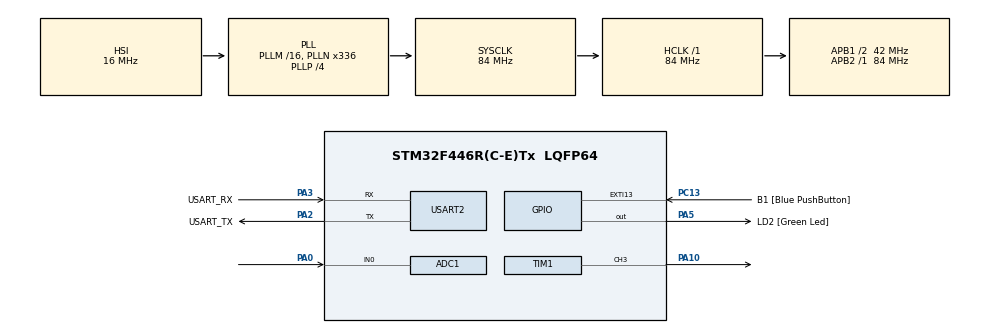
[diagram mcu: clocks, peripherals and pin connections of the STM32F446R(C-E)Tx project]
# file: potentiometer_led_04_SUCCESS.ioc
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ADC1.Channel-0\#ChannelRegularConversion=ADC_CHANNEL_0
ADC1.ContinuousConvMode=ENABLE
ADC1.NbrOfConversionFlag=1
ADC1.Rank-0\#ChannelRegularConversion=1
ADC1.SamplingTime-0\#ChannelRegularConversion=ADC_SAMPLETIME_3CYCLES
ADC1.master=1
Mcu.Family=STM32F4
Mcu.Name=STM32F446R(C-E)Tx
Mcu.Package=LQFP64
NVIC.PriorityGroup=NVIC_PRIORITYGROUP_0
PA0-WKUP.Signal=ADCx_IN0
PA10.Signal=S_TIM1_CH3
PA13.GPIO_Label=TMS
PA13.Mode=Serial_Wire
PA13.Signal=SYS_JTMS-SWDIO
PA14.GPIO_Label=TCK
PA14.Mode=Serial_Wire
PA14.Signal=SYS_JTCK-SWCLK
PA2.GPIO_Label=USART_TX
PA2.Mode=Asynchronous
PA2.Signal=USART2_TX
PA3.GPIO_Label=USART_RX
PA3.Mode=Asynchronous
PA3.Signal=USART2_RX
PA5.GPIO_Label=LD2 [Green Led]
PA5.Signal=GPIO_Output
PB3.GPIO_Label=SWO
PB3.Signal=SYS_JTDO-SWO
PC13.GPIO_Label=B1 [Blue PushButton]
PC13.GPIO_ModeDefaultEXTI=GPIO_MODE_IT_FALLING
PC13.Signal=GPXTI13
PC14-OSC32_IN.Mode=LSE-External-Oscillator
PC14-OSC32_IN.Signal=RCC_OSC32_IN
PC15-OSC32_OUT.Mode=LSE-External-Oscillator
PC15-OSC32_OUT.Signal=RCC_OSC32_OUT
PH0-OSC_IN.Mode=HSE-External-Oscillator
PH0-OSC_IN.Signal=RCC_OSC_IN
PH1-OSC_OUT.Mode=HSE-External-Oscillator
PH1-OSC_OUT.Signal=RCC_OSC_OUT
ProjectManager.HeapSize=0x200
ProjectManager.StackSize=0x400
ProjectManager.TargetToolchain=STM32CubeIDE
RCC.48MHZClocksFreq_Value=84000000
RCC.AHBFreq_Value=84000000
RCC.APB1CLKDivider=RCC_HCLK_DIV2
RCC.APB1Freq_Value=42000000
RCC.APB1TimFreq_Value=84000000
RCC.APB2Freq_Value=84000000
RCC.APB2TimFreq_Value=84000000
RCC.CortexFreq_Value=84000000
RCC.FLatency-AdvancedSettings=FLASH_LATENCY_2
RCC.HCLKFreq_Value=84000000
RCC.HSE_VALUE=8000000
RCC.HSI_VALUE=16000000
RCC.PLLN=336
RCC.PLLP=RCC_PLLP_DIV4
RCC.SYSCLKFreq_VALUE=84000000
RCC.SYSCLKSource=RCC_SYSCLKSOURCE_PLLCLK
RCC.USBFreq_Value=168000000
RCC.VCOOutputFreq_Value=336000000
SH.ADCx_IN0.0=ADC1_IN0,IN0
SH.S_TIM1_CH3.0=TIM1_CH3,PWM Generation3 CH3
TIM1.AutoReloadPreload=TIM_AUTORELOAD_PRELOAD_ENABLE
TIM1.Channel-PWM\ Generation3\ CH3=TIM_CHANNEL_3
TIM1.Period=255
TIM1.Prescaler=1000
USART2.VirtualMode=VM_ASYNC
board=NUCLEO-F446RE

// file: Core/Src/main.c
/* USER CODE BEGIN Header */
/**
  ******************************************************************************
  * @file           : main.c
  * @brief          : Main program body
  ******************************************************************************
  * @attention
  *
  * Copyright (c) 2023 STMicroelectronics.
  * All rights reserved.
  *
  * This software is licensed under terms that can be found in the LICENSE file
  * in the root directory of this software component.
  * If no LICENSE file comes with this software, it is provided AS-IS.
  *
  ******************************************************************************
  */
/* USER CODE END Header */
#include "main.h"

/* USER CODE BEGIN Includes */
#include <stdio.h>
#include <string.h>
/* USER CODE END Includes */

ADC_HandleTypeDef hadc1;

TIM_HandleTypeDef htim1;

UART_HandleTypeDef huart2;

void SystemClock_Config(void);
static void MX_GPIO_Init(void);
static void MX_USART2_UART_Init(void);
static void MX_ADC1_Init(void);
static void MX_TIM1_Init(void);

int main(void)
{
  /* USER CODE BEGIN 1 */
	uint16_t raw; //(DATA RETRIEVAL FROM POTENTIOMETER
	char buf[10];	//BUFFER FOR UART TRANSMISSION
	uint16_t dutycycle;
  /* USER CODE END 1 */

  /* MCU Configuration--------------------------------------------------------*/

  /* Reset of all peripherals, Initializes the Flash interface and the Systick. */
  HAL_Init();

  /* Configure the system clock */
  SystemClock_Config();

  /* Initialize all configured peripherals */
  MX_GPIO_Init();
  MX_USART2_UART_Init();
  MX_ADC1_Init();
  MX_TIM1_Init();
  /* USER CODE BEGIN 2 */
  HAL_TIM_PWM_Init(&htim1);
  HAL_TIM_PWM_Start(&htim1, TIM_CHANNEL_3);
  /* USER CODE END 2 */

  /* Infinite loop */
  /* USER CODE BEGIN WHILE */
//  uint16_t LED_THRESH=1000;
  while (1)
  {
	  HAL_ADC_Start(&hadc1);

	  //GETTING VALUE OF POTENTIOMETER
	  HAL_ADC_PollForConversion(&hadc1, HAL_MAX_DELAY);
	  raw=HAL_ADC_GetValue(&hadc1);

	  dutycycle = (raw * 100) / 4095;

	     // Set the PWM duty cycle
	  __HAL_TIM_SET_COMPARE(&htim1, TIM_CHANNEL_3, dutycycle);
	  //CONVERTING THE DATA INTO STRING

	  sprintf(buf,"%hu\r\n",raw);

	  //TRANSMITTING DATA OVER UART
	  HAL_UART_Transmit(&huart2, (uint8_t*)buf, strlen(buf), HAL_MAX_DELAY);
	  HAL_Delay(3);

    /* USER CODE END WHILE */

  }
}

void SystemClock_Config(void)
{
  RCC_OscInitTypeDef RCC_OscInitStruct = {0};
  RCC_ClkInitTypeDef RCC_ClkInitStruct = {0};

  /** Configure the main internal regulator output voltage
  */
  __HAL_RCC_PWR_CLK_ENABLE();
  __HAL_PWR_VOLTAGESCALING_CONFIG(PWR_REGULATOR_VOLTAGE_SCALE3);

  /** Initializes the RCC Oscillators according to the specified parameters
  * in the RCC_OscInitTypeDef structure.
  */
  RCC_OscInitStruct.OscillatorType = RCC_OSCILLATORTYPE_HSI;
  RCC_OscInitStruct.HSIState = RCC_HSI_ON;
  RCC_OscInitStruct.HSICalibrationValue = RCC_HSICALIBRATION_DEFAULT;
  RCC_OscInitStruct.PLL.PLLState = RCC_PLL_ON;
  RCC_OscInitStruct.PLL.PLLSource = RCC_PLLSOURCE_HSI;
  RCC_OscInitStruct.PLL.PLLM = 16;
  RCC_OscInitStruct.PLL.PLLN = 336;
  RCC_OscInitStruct.PLL.PLLP = RCC_PLLP_DIV4;
  RCC_OscInitStruct.PLL.PLLQ = 2;
  RCC_OscInitStruct.PLL.PLLR = 2;
  if (HAL_RCC_OscConfig(&RCC_OscInitStruct) != HAL_OK)
  {
    Error_Handler();
  }

  /** Initializes the CPU, AHB and APB buses clocks
  */
  RCC_ClkInitStruct.ClockType = RCC_CLOCKTYPE_HCLK|RCC_CLOCKTYPE_SYSCLK
                              |RCC_CLOCKTYPE_PCLK1|RCC_CLOCKTYPE_PCLK2;
  RCC_ClkInitStruct.SYSCLKSource = RCC_SYSCLKSOURCE_PLLCLK;
  RCC_ClkInitStruct.AHBCLKDivider = RCC_SYSCLK_DIV1;
  RCC_ClkInitStruct.APB1CLKDivider = RCC_HCLK_DIV2;
  RCC_ClkInitStruct.APB2CLKDivider = RCC_HCLK_DIV1;

  if (HAL_RCC_ClockConfig(&RCC_ClkInitStruct, FLASH_LATENCY_2) != HAL_OK)
  {
    Error_Handler();
  }
}

static void MX_ADC1_Init(void)
{

  ADC_ChannelConfTypeDef sConfig = {0};

  /** Configure the global features of the ADC (Clock, Resolution, Data Alignment and number of conversion)
  */
  hadc1.Instance = ADC1;
  hadc1.Init.ClockPrescaler = ADC_CLOCK_SYNC_PCLK_DIV4;
  hadc1.Init.Resolution = ADC_RESOLUTION_12B;
  hadc1.Init.ScanConvMode = DISABLE;
  hadc1.Init.ContinuousConvMode = ENABLE;
  hadc1.Init.DiscontinuousConvMode = DISABLE;
  hadc1.Init.ExternalTrigConvEdge = ADC_EXTERNALTRIGCONVEDGE_NONE;
  hadc1.Init.ExternalTrigConv = ADC_SOFTWARE_START;
  hadc1.Init.DataAlign = ADC_DATAALIGN_RIGHT;
  hadc1.Init.NbrOfConversion = 1;
  hadc1.Init.DMAContinuousRequests = DISABLE;
  hadc1.Init.EOCSelection = ADC_EOC_SINGLE_CONV;
  if (HAL_ADC_Init(&hadc1) != HAL_OK)
  {
    Error_Handler();
  }

  /** Configure for the selected ADC regular channel its corresponding rank in the sequencer and its sample time.
  */
  sConfig.Channel = ADC_CHANNEL_0;
  sConfig.Rank = 1;
  sConfig.SamplingTime = ADC_SAMPLETIME_3CYCLES;
  if (HAL_ADC_ConfigChannel(&hadc1, &sConfig) != HAL_OK)
  {
    Error_Handler();
  }

}

static void MX_TIM1_Init(void)
{

  TIM_MasterConfigTypeDef sMasterConfig = {0};
  TIM_OC_InitTypeDef sConfigOC = {0};
  TIM_BreakDeadTimeConfigTypeDef sBreakDeadTimeConfig = {0};

  htim1.Instance = TIM1;
  htim1.Init.Prescaler = 1000;
  htim1.Init.CounterMode = TIM_COUNTERMODE_UP;
  htim1.Init.Period = 255;
  htim1.Init.ClockDivision = TIM_CLOCKDIVISION_DIV1;
  htim1.Init.RepetitionCounter = 0;
  htim1.Init.AutoReloadPreload = TIM_AUTORELOAD_PRELOAD_ENABLE;
  if (HAL_TIM_PWM_Init(&htim1) != HAL_OK)
  {
    Error_Handler();
  }
  sMasterConfig.MasterOutputTrigger = TIM_TRGO_RESET;
  sMasterConfig.MasterSlaveMode = TIM_MASTERSLAVEMODE_DISABLE;
  if (HAL_TIMEx_MasterConfigSynchronization(&htim1, &sMasterConfig) != HAL_OK)
  {
    Error_Handler();
  }
  sConfigOC.OCMode = TIM_OCMODE_PWM1;
  sConfigOC.Pulse = 0;
  sConfigOC.OCPolarity = TIM_OCPOLARITY_HIGH;
  sConfigOC.OCNPolarity = TIM_OCNPOLARITY_HIGH;
  sConfigOC.OCFastMode = TIM_OCFAST_DISABLE;
  sConfigOC.OCIdleState = TIM_OCIDLESTATE_RESET;
  sConfigOC.OCNIdleState = TIM_OCNIDLESTATE_RESET;
  if (HAL_TIM_PWM_ConfigChannel(&htim1, &sConfigOC, TIM_CHANNEL_3) != HAL_OK)
  {
    Error_Handler();
  }
  sBreakDeadTimeConfig.OffStateRunMode = TIM_OSSR_DISABLE;
  sBreakDeadTimeConfig.OffStateIDLEMode = TIM_OSSI_DISABLE;
  sBreakDeadTimeConfig.LockLevel = TIM_LOCKLEVEL_OFF;
  sBreakDeadTimeConfig.DeadTime = 0;
  sBreakDeadTimeConfig.BreakState = TIM_BREAK_DISABLE;
  sBreakDeadTimeConfig.BreakPolarity = TIM_BREAKPOLARITY_HIGH;
  sBreakDeadTimeConfig.AutomaticOutput = TIM_AUTOMATICOUTPUT_DISABLE;
  if (HAL_TIMEx_ConfigBreakDeadTime(&htim1, &sBreakDeadTimeConfig) != HAL_OK)
  {
    Error_Handler();
  }
  HAL_TIM_MspPostInit(&htim1);

}

static void MX_USART2_UART_Init(void)
{

  huart2.Instance = USART2;
  huart2.Init.BaudRate = 115200;
  huart2.Init.WordLength = UART_WORDLENGTH_8B;
  huart2.Init.StopBits = UART_STOPBITS_1;
  huart2.Init.Parity = UART_PARITY_NONE;
  huart2.Init.Mode = UART_MODE_TX_RX;
  huart2.Init.HwFlowCtl = UART_HWCONTROL_NONE;
  huart2.Init.OverSampling = UART_OVERSAMPLING_16;
  if (HAL_UART_Init(&huart2) != HAL_OK)
  {
    Error_Handler();
  }

}

static void MX_GPIO_Init(void)
{
  GPIO_InitTypeDef GPIO_InitStruct = {0};

  /* GPIO Ports Clock Enable */
  __HAL_RCC_GPIOC_CLK_ENABLE();
  __HAL_RCC_GPIOH_CLK_ENABLE();
  __HAL_RCC_GPIOA_CLK_ENABLE();
  __HAL_RCC_GPIOB_CLK_ENABLE();

  /*Configure GPIO pin Output Level */
  HAL_GPIO_WritePin(LD2_GPIO_Port, LD2_Pin, GPIO_PIN_RESET);

  /*Configure GPIO pin : B1_Pin */
  GPIO_InitStruct.Pin = B1_Pin;
  GPIO_InitStruct.Mode = GPIO_MODE_IT_FALLING;
  GPIO_InitStruct.Pull = GPIO_NOPULL;
  HAL_GPIO_Init(B1_GPIO_Port, &GPIO_InitStruct);

  /*Configure GPIO pin : LD2_Pin */
  GPIO_InitStruct.Pin = LD2_Pin;
  GPIO_InitStruct.Mode = GPIO_MODE_OUTPUT_PP;
  GPIO_InitStruct.Pull = GPIO_NOPULL;
  GPIO_InitStruct.Speed = GPIO_SPEED_FREQ_LOW;
  HAL_GPIO_Init(LD2_GPIO_Port, &GPIO_InitStruct);

}

void Error_Handler(void)
{
  __disable_irq();
  while (1)
  {
  }
}
